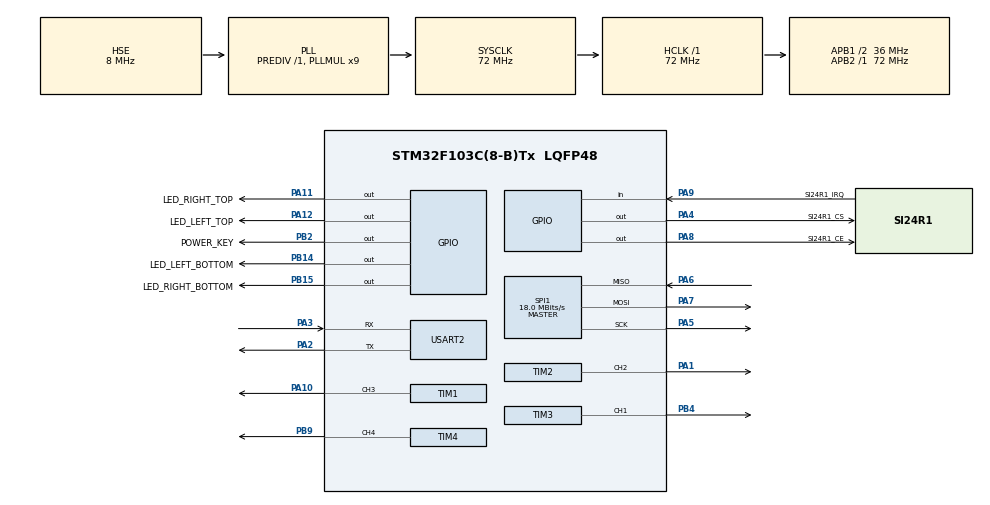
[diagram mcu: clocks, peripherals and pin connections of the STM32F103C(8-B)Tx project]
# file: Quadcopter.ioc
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FREERTOS.Tasks01=defaultTask,24,128,StartDefaultTask,Default,NULL,Dynamic,NULL,NULL
FREERTOS.configTOTAL_HEAP_SIZE=8000
Mcu.Family=STM32F1
Mcu.Name=STM32F103C(8-B)Tx
Mcu.Package=LQFP48
NVIC.PriorityGroup=NVIC_PRIORITYGROUP_4
PA1.Signal=S_TIM2_CH2
PA10.Signal=S_TIM1_CH3
PA11.GPIO_Label=LED_RIGHT_TOP
PA11.Signal=GPIO_Output
PA12.GPIO_Label=LED_LEFT_TOP
PA12.Signal=GPIO_Output
PA13.Mode=Serial_Wire
PA13.Signal=SYS_JTMS-SWDIO
PA14.Mode=Serial_Wire
PA14.Signal=SYS_JTCK-SWCLK
PA2.Mode=Asynchronous
PA2.Signal=USART2_TX
PA3.Mode=Asynchronous
PA3.Signal=USART2_RX
PA4.GPIO_Label=SI24R1_CS
PA4.PinState=GPIO_PIN_SET
PA4.Signal=GPIO_Output
PA5.Mode=Full_Duplex_Master
PA5.Signal=SPI1_SCK
PA6.Mode=Full_Duplex_Master
PA6.Signal=SPI1_MISO
PA7.Mode=Full_Duplex_Master
PA7.Signal=SPI1_MOSI
PA8.GPIO_Label=SI24R1_CE
PA8.PinState=GPIO_PIN_SET
PA8.Signal=GPIO_Output
PA9.GPIO_Label=SI24R1_IRQ
PA9.GPIO_PuPd=GPIO_PULLUP
PA9.Signal=GPIO_Input
PB14.GPIO_Label=LED_LEFT_BOTTOM
PB14.Signal=GPIO_Output
PB15.GPIO_Label=LED_RIGHT_BOTTOM
PB15.Signal=GPIO_Output
PB2.GPIO_Label=POWER_KEY
PB2.GPIO_ModeDefaultOutputPP=GPIO_MODE_OUTPUT_OD
PB2.GPIO_PuPd=GPIO_NOPULL
PB2.PinState=GPIO_PIN_SET
PB2.Signal=GPIO_Output
PB4.Signal=S_TIM3_CH1
PB9.Signal=S_TIM4_CH4
PC14-OSC32_IN.Mode=LSE-External-Oscillator
PC14-OSC32_IN.Signal=RCC_OSC32_IN
PC15-OSC32_OUT.Mode=LSE-External-Oscillator
PC15-OSC32_OUT.Signal=RCC_OSC32_OUT
PD0-OSC_IN.Mode=HSE-External-Oscillator
PD0-OSC_IN.Signal=RCC_OSC_IN
PD1-OSC_OUT.Mode=HSE-External-Oscillator
PD1-OSC_OUT.Signal=RCC_OSC_OUT
ProjectManager.HeapSize=0x200
ProjectManager.StackSize=0x800
ProjectManager.TargetToolchain=CMake
RCC.AHBFreq_Value=72000000
RCC.APB1CLKDivider=RCC_HCLK_DIV2
RCC.APB1Freq_Value=36000000
RCC.APB1TimFreq_Value=72000000
RCC.APB2Freq_Value=72000000
RCC.APB2TimFreq_Value=72000000
RCC.HCLKFreq_Value=72000000
RCC.PLLMUL=RCC_PLL_MUL9
RCC.PLLSourceVirtual=RCC_PLLSOURCE_HSE
RCC.SYSCLKFreq_VALUE=72000000
RCC.SYSCLKSource=RCC_SYSCLKSOURCE_PLLCLK
RCC.USBFreq_Value=72000000
SH.S_TIM1_CH3.0=TIM1_CH3,PWM Generation3 CH3
SH.S_TIM2_CH2.0=TIM2_CH2,PWM Generation2 CH2
SH.S_TIM3_CH1.0=TIM3_CH1,PWM Generation1 CH1
SH.S_TIM4_CH4.0=TIM4_CH4,PWM Generation4 CH4
SPI1.BaudRatePrescaler=SPI_BAUDRATEPRESCALER_4
SPI1.CalculateBaudRate=18.0 MBits/s
SPI1.Direction=SPI_DIRECTION_2LINES
SPI1.Mode=SPI_MODE_MASTER
SPI1.VirtualType=VM_MASTER
TIM1.Channel-PWM\ Generation3\ CH3=TIM_CHANNEL_3
TIM1.OCFastMode_PWM-PWM\ Generation3\ CH3=TIM_OCFAST_ENABLE
TIM1.Period=1000-1
TIM1.Prescaler=4-1
TIM2.Channel-PWM\ Generation2\ CH2=TIM_CHANNEL_2
TIM2.OCFastMode_PWM-PWM\ Generation2\ CH2=TIM_OCFAST_ENABLE
TIM2.Period=1000-1
TIM2.Prescaler=4-1
TIM3.Channel-PWM\ Generation1\ CH1=TIM_CHANNEL_1
TIM3.OCFastMode_PWM-PWM\ Generation1\ CH1=TIM_OCFAST_ENABLE
TIM3.Period=1000-1
TIM3.Prescaler=4-1
TIM4.Channel-PWM\ Generation4\ CH4=TIM_CHANNEL_4
TIM4.OCFastMode_PWM-PWM\ Generation4\ CH4=TIM_OCFAST_ENABLE
TIM4.Period=1000-1
TIM4.Prescaler=4-1
USART2.VirtualMode=VM_ASYNC
VP_FREERTOS_VS_CMSIS_V2.Mode=CMSIS_V2
VP_TIM1_VS_ClockSourceINT.Mode=Internal
VP_TIM2_VS_ClockSourceINT.Mode=Internal
VP_TIM3_VS_ClockSourceINT.Mode=Internal
VP_TIM4_VS_ClockSourceINT.Mode=Internal
board=custom

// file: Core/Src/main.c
/* USER CODE BEGIN Header */
/**
  ******************************************************************************
  * @file           : main.c
  * @brief          : Main program body
  ******************************************************************************
  * @attention
  *
  * Copyright (c) 2025 STMicroelectronics.
  * All rights reserved.
  *
  * This software is licensed under terms that can be found in the LICENSE file
  * in the root directory of this software component.
  * If no LICENSE file comes with this software, it is provided AS-IS.
  *
  ******************************************************************************
  */
/* USER CODE END Header */
#include "main.h"
#include "cmsis_os.h"
#include "spi.h"
#include "tim.h"
#include "usart.h"
#include "gpio.h"

/* USER CODE BEGIN Includes */
#include "Com_Debug.h"
/* USER CODE END Includes */

void SystemClock_Config(void);
void MX_FREERTOS_Init(void);

int main(void)
{

  /* MCU Configuration--------------------------------------------------------*/

  /* Reset of all peripherals, Initializes the Flash interface and the Systick. */
  HAL_Init();

  /* Configure the system clock */
  SystemClock_Config();

  /* Initialize all configured peripherals */
  MX_GPIO_Init();
  MX_USART2_UART_Init();
  MX_TIM1_Init();
  MX_TIM2_Init();
  MX_TIM3_Init();
  MX_TIM4_Init();
  MX_SPI1_Init();

  /* Init scheduler */
  osKernelInitialize();

  /* Call init function for freertos objects (in cmsis_os2.c) */
  MX_FREERTOS_Init();

  /* Start scheduler */
  osKernelStart();

  /* We should never get here as control is now taken by the scheduler */

  /* Infinite loop */
  /* USER CODE BEGIN WHILE */
  // App_Task_FreeRTOSStart();
  while (1)
  {
    /* USER CODE END WHILE */

  }
}

void SystemClock_Config(void)
{
  RCC_OscInitTypeDef RCC_OscInitStruct = {0};
  RCC_ClkInitTypeDef RCC_ClkInitStruct = {0};

  /** Initializes the RCC Oscillators according to the specified parameters
  * in the RCC_OscInitTypeDef structure.
  */
  RCC_OscInitStruct.OscillatorType = RCC_OSCILLATORTYPE_HSE;
  RCC_OscInitStruct.HSEState = RCC_HSE_ON;
  RCC_OscInitStruct.HSEPredivValue = RCC_HSE_PREDIV_DIV1;
  RCC_OscInitStruct.HSIState = RCC_HSI_ON;
  RCC_OscInitStruct.PLL.PLLState = RCC_PLL_ON;
  RCC_OscInitStruct.PLL.PLLSource = RCC_PLLSOURCE_HSE;
  RCC_OscInitStruct.PLL.PLLMUL = RCC_PLL_MUL9;
  if (HAL_RCC_OscConfig(&RCC_OscInitStruct) != HAL_OK)
  {
    Error_Handler();
  }

  /** Initializes the CPU, AHB and APB buses clocks
  */
  RCC_ClkInitStruct.ClockType = RCC_CLOCKTYPE_HCLK|RCC_CLOCKTYPE_SYSCLK
                              |RCC_CLOCKTYPE_PCLK1|RCC_CLOCKTYPE_PCLK2;
  RCC_ClkInitStruct.SYSCLKSource = RCC_SYSCLKSOURCE_PLLCLK;
  RCC_ClkInitStruct.AHBCLKDivider = RCC_SYSCLK_DIV1;
  RCC_ClkInitStruct.APB1CLKDivider = RCC_HCLK_DIV2;
  RCC_ClkInitStruct.APB2CLKDivider = RCC_HCLK_DIV1;

  if (HAL_RCC_ClockConfig(&RCC_ClkInitStruct, FLASH_LATENCY_2) != HAL_OK)
  {
    Error_Handler();
  }
}

void Error_Handler(void)
{
  __disable_irq();
  while (1)
  {
  }
}

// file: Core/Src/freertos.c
/* USER CODE BEGIN Header */
/**
  ******************************************************************************
  * File Name          : freertos.c
  * Description        : Code for freertos applications
  ******************************************************************************
  * @attention
  *
  * Copyright (c) 2025 STMicroelectronics.
  * All rights reserved.
  *
  * This software is licensed under terms that can be found in the LICENSE file
  * in the root directory of this software component.
  * If no LICENSE file comes with this software, it is provided AS-IS.
  *
  ******************************************************************************
  */
/* USER CODE END Header */

#include "FreeRTOS.h"
#include "task.h"
#include "main.h"
#include "cmsis_os.h"

/* USER CODE BEGIN Includes */
#include "Com_Debug.h"
#include "Com_Config.h"
#include "Inf_IP5305T.h"
#include "Inf_Led.h"
#include "Inf_Motor.h"
#include "Inf_SI24R1.h"

#ifndef SI24R1_TX_PLOAD_WIDTH
#define SI24R1_TX_PLOAD_WIDTH 32 // Define a default value, adjust as needed
#endif
#include "App_Flight.h"
#include "App_Communication.h"
/* USER CODE END Includes */

/* USER CODE BEGIN PD */
void startTask(void *args);
#define START_TASK_NAME "start_task"
#define START_TASK_STACK 128
#define START_TASK_PRIORITY 10
TaskHandle_t startTaskHandle;

/* 电源管理任务 */
void powerTask(void *args);
#define POWER_TASK_NAME "power_task"
#define POWER_TASK_STACK 128
#define POWER_TASK_PRIORITY 9
TaskHandle_t powerTaskHandle;
#define POWER_CYCLE (10*1000) // 10s

/* led灯任务 */
void ledTask(void *args);
#define LED_TASK_NAME "led_task"
#define LED_TASK_STACK 128
#define LED_TASK_PRIORITY 2
TaskHandle_t ledTaskHandle;
#define LED_CYCLE 50 // 50ms

/* 飞行任务，控制电机 */
void flightTask(void *args);
#define FLIGHT_TASK_NAME "flight_task"
#define FLIGHT_TASK_STACK 256
#define FLIGHT_TASK_PRIORITY 8
TaskHandle_t flightTaskHandle;
#define FLIGHT_CYCLE 4

/* 通信任务，接收遥控器数据 */
void communicationTask(void *args);
#define COMMUNICATION_TASK_NAME "communication_task"
#define COMMUNICATION_TASK_STACK 256
#define COMMUNICATION_TASK_PRIORITY 8
TaskHandle_t communicationTaskHandle;
#define COMMUNICATION_CYCLE 6

/* USER CODE END PD */

/* Definitions for defaultTask */
osThreadId_t defaultTaskHandle;
const osThreadAttr_t defaultTask_attributes = {
  .name = "defaultTask",
  .stack_size = 128 * 4,
  .priority = (osPriority_t) osPriorityNormal,
};

void StartDefaultTask(void *argument);

void MX_FREERTOS_Init(void); /* (MISRA C 2004 rule 8.1) */

void MX_FREERTOS_Init(void) {
  /* USER CODE BEGIN Init */
  App_Flight_Start();
  App_Communication_Start();
  /* USER CODE END Init */

  /* Create the thread(s) */
  /* creation of defaultTask */
  //defaultTaskHandle = osThreadNew(StartDefaultTask, NULL, &defaultTask_attributes);

  /* USER CODE BEGIN RTOS_THREADS */
  /* add threads, ... */
  debug_printfln("start create start task");

  BaseType_t r = xTaskCreate(
      startTask,
      START_TASK_NAME,
      START_TASK_STACK,
      NULL,
      START_TASK_PRIORITY,
      &startTaskHandle
  );
  if (r != pdPASS) {
      debug_printfln("Failed to create start task");
  }
  /* USER CODE END RTOS_THREADS */

}

void StartDefaultTask(void *argument)
{
  /* USER CODE BEGIN StartDefaultTask */
//   /* Infinite loop */
//   for(;;)
//   {
//     osDelay(1);
//   }
  /* USER CODE END StartDefaultTask */
}

/* USER CODE BEGIN Application */

void startTask(void *args){
  debug_printfln("Start task started");
  /* 创建电源任务 */
  xTaskCreate(
      powerTask,
      POWER_TASK_NAME,
      POWER_TASK_STACK,
      NULL,
      POWER_TASK_PRIORITY,
      &powerTaskHandle
  );

  /* 创建led灯任务 */
  xTaskCreate(
      ledTask,
      LED_TASK_NAME,
      LED_TASK_STACK,
      NULL,
      LED_TASK_PRIORITY,
      &ledTaskHandle
  );

  /* 创建飞行任务 */
  xTaskCreate(
      flightTask,
      FLIGHT_TASK_NAME,
      FLIGHT_TASK_STACK,
      NULL,
      FLIGHT_TASK_PRIORITY,
      &flightTaskHandle
  );

  /* 创建通信任务 */
  xTaskCreate(
      communicationTask,
      COMMUNICATION_TASK_NAME,
      COMMUNICATION_TASK_STACK,
      NULL,
      COMMUNICATION_TASK_PRIORITY,
      &communicationTaskHandle
  );
  debug_printfln("Start task finished");

  vTaskDelete(NULL);
}

/* 电源管理任务 */
void powerTask(void *args){
  while (1)
  {
      /* 关机 */
      if (ulTaskNotifyTake(pdTRUE, POWER_CYCLE) == pdTRUE) {
          debug_printfln("Power off");
          Inf_IP5305T_Close();
      }else{
          /* 开机 */
          debug_printfln("Power on");
          Inf_IP5305T_Open();
      }
  }
}

/* led灯任务 */
void ledTask(void *args){
  debug_printfln("Led task started");

  isRemoteCoected = COM_OK;
  isRemoteUnlocked = COM_OK;
  isFixHeight = COM_FAIL;

  uint32_t preTime = xTaskGetTickCount();
  uint32_t cnt = 0;

  while (1)
  {
      /* 定高、解锁、连接 */
      if (isFixHeight == COM_OK) {
        ledLeftTop.status =
          ledLeftBottom.status =
            ledRightTop.status =
              ledRightBottom.status = 2;
      }else if (isRemoteUnlocked == COM_OK) {
        ledLeftTop.status =
          ledLeftBottom.status =
            ledRightTop.status =
              ledRightBottom.status = 10;
      }else if (isRemoteCoected == COM_OK) {
        ledLeftTop.status =
          ledLeftBottom.status =
            ledRightTop.status =
              ledRightBottom.status = 20;
      }else{
        ledLeftTop.status =
          ledLeftBottom.status =
            ledRightTop.status =
              ledRightBottom.status = 0;
      }

      cnt++;

      if(ledLeftTop.status <=1 || cnt % ledLeftTop.status == 0){
        Inf_Led_SetStatus(&ledLeftTop);
        Inf_Led_SetStatus(&ledLeftBottom);
        Inf_Led_SetStatus(&ledRightTop);
        Inf_Led_SetStatus(&ledRightBottom);
      }

      vTaskDelayUntil(&preTime, LED_CYCLE);
  }
}

/* 飞行任务，控制电机 */
void flightTask(void *args){
  debug_printfln("Flight task started");

  motorLeftTop.speed = 0;
  motorLeftBottom.speed = 0;
  motorRightTop.speed = 0;
  motorRightBottom.speed = 0;

  uint32_t preTime = xTaskGetTickCount();
  while (1)
  {
      /* 电机控制 */
      Inf_Motor_AllMotorsWork();

      vTaskDelayUntil(&preTime, FLIGHT_CYCLE);
  }
}

/* 通信任务，接收遥控器数据 */
void communicationTask(void *args){
  debug_printfln("Communication task started");

  uint32_t preTime = xTaskGetTickCount();
  while (1)
  {
      /* 接收遥控器数据 */
      Com_Status isReceiveData = App_Communication_ReceiveJoyStickData();

      if (isReceiveData == COM_OK) {
        if(joyStick.isPowerOff) {
          xTaskNotifyGive(powerTaskHandle);
        }
      }
      // Com_Config_PrintJoyStick("joyStick");
      /* 延时 */
      vTaskDelayUntil(&preTime, COMMUNICATION_CYCLE);
  }
}

/* USER CODE END Application */
